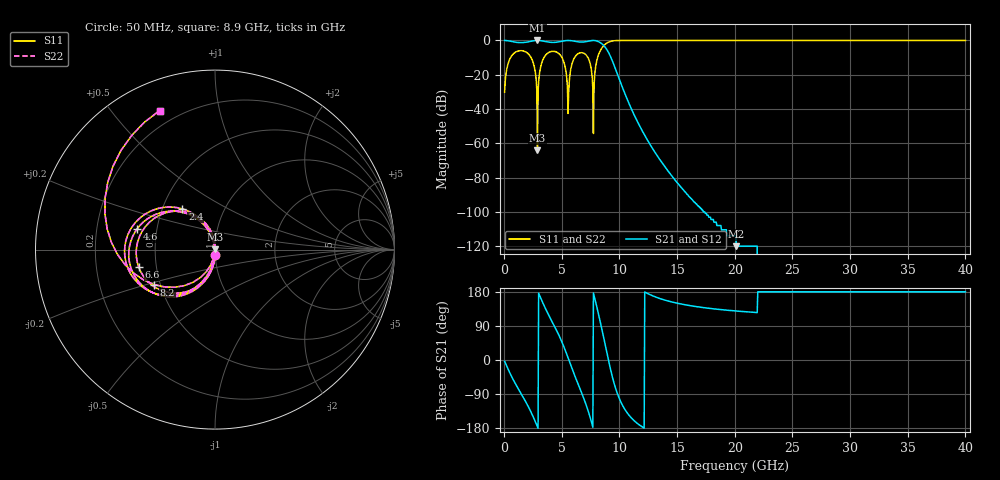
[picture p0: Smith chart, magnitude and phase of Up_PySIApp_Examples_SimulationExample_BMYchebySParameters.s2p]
# MHz MA S R 50.0
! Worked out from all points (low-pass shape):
!   800 points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, 50 MHz to 40 GHz, reference 50 ohm
!   highest |S21| = 0.00 dB at 2.9 GHz (marker M1); lowest = -120.0 dB at 20.15 GHz (marker M2)
!   |S21| within 3 dB of the highest: start of sweep to 8.651 GHz
!   lowest |S11| = -64.2 dB at 2.9 GHz (marker M3), VSWR 1.00, Z = 50 + j0.0619 ohm
!   |S11| at or under -10 dB: 2.344 GHz to 3.464 GHz (1.121 GHz wide, 38.6 % of centre); 5.022 GHz to 6.113 GHz (1.091 GHz wide, 19.6 % of centre); 7.273 GHz to 8.111 GHz (837.3 MHz wide, 10.9 % of centre)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
!   |S22| runs from -64.2 to 0.0 dB; largest |S21 - S12| = 0
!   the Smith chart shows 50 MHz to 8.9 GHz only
!   S11 on the Smith chart (normalised r, x): 50 MHz: 0.99, -0.06; 2.4 GHz: 0.63, +0.31; 4.6 GHz: 0.38, +0.11; 6.6 GHz: 0.40, -0.10; 8.2 GHz: 0.46, -0.21; 8.9 GHz: 0.13, +0.67
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50  0.03135 -93.5  0.9995 -3.5  0.9995 -3.5  0.03135 -93.5
850  0.4198 -145.0  0.9076 -55.0  0.9076 -55.0  0.4198 -145.0
2400  0.2904 128.6  0.9569 -141.4  0.9569 -141.4  0.2904 128.6
2900  0.00062 93.7  1 -176.3  1 -176.3  0.00062 93.7
3500  0.3317 -128.3  0.9434 141.7  0.9434 141.7  0.3317 -128.3
4600  0.45 165.4  0.893 75.4  0.893 75.4  0.45 165.4
5550  0.007437 96.0  1 6.0  1 6.0  0.007437 96.0
6600  0.436 -167.0  0.8999 -77.0  0.8999 -77.0  0.436 -167.0
6750  0.4393 -178.4  0.8984 -88.4  0.8984 -88.4  0.4393 -178.4
7750  0.001938 -93.2  1 176.8  1 176.8  0.001938 -93.2
8200  0.3912 -150.2  0.9203 119.8  0.9203 119.8  0.3912 -150.2
8900  0.834 111.7  0.5518 21.7  0.5518 21.7  0.834 111.7
9300  0.9538 56.7  0.3005 -33.3  0.3005 -33.3  0.9538 56.7
9900  0.9959 -4.4  0.08997 -94.4  0.08997 -94.4  0.9959 -4.4
11050  1 -63.2  0.009937 -153.2  0.009937 -153.2  1 -63.2
13400  1 -106.7  0.000379 163.3  0.000379 163.3  1 -106.7
14800  1 -118.7  8.7e-05 151.3  8.7e-05 151.3  1 -118.7
20050  1 -140.5  2e-06 129.5  2e-06 129.5  1 -140.5
20150  1 -140.8  1e-06 129.2  1e-06 129.2  1 -140.8
26700  1 -152.1  0 117.9  0 117.9  1 -152.1
33350  1 -158.2  0 111.8  0 111.8  1 -158.2
40000  1 -162.1  0 107.9  0 107.9  1 -162.1
